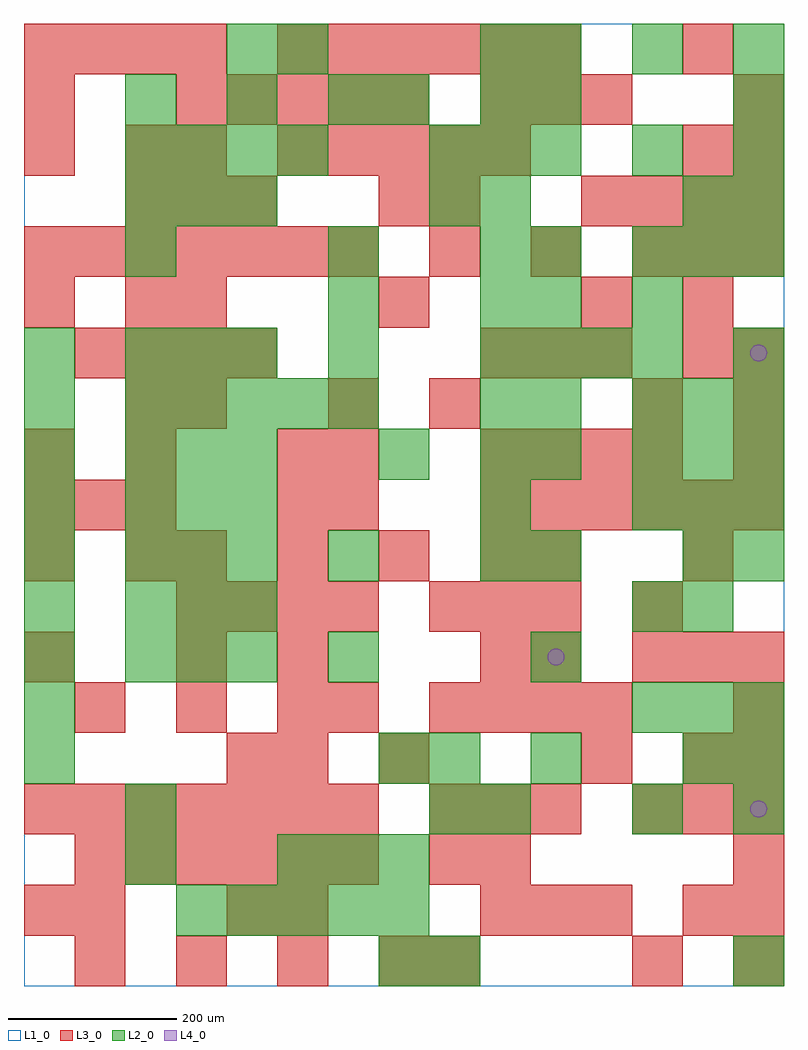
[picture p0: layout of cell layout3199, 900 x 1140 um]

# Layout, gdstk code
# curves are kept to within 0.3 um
import gdstk
lib = gdstk.Library(unit=1e-6, precision=1e-09)
def R(c, l, rs):  # rectangles x0, y0, x1, y1
    for r in rs: c.add(gdstk.rectangle(r[:2], r[2:], *l))
def A(c, l, x, y, w, h, nx, ny, dx, dy):  # array of equal rectangles
    R(c, l, [(x+i*dx, y+j*dy, x+i*dx+w, y+j*dy+h) for i in range(nx) for j in range(ny)])
def P(c, l, *ps):  # polygons
    for p in ps: c.add(gdstk.Polygon(p, *l))
L1_0 = (1, 0)
L2_0 = (2, 0)
L3_0 = (3, 0)
L4_0 = (4, 0)

layout3199 = lib.new_cell('layout3199')
R(layout3199, L1_0, [(0,0,900,1140)])
A(layout3199, L2_0, 180, 60, 60, 60, 5, 1, 60, 0)
A(layout3199, L2_0, 300, 120, 60, 60, 3, 1, 60, 0)
A(layout3199, L2_0, 0, 240, 60, 60, 1, 9, 0, 60)
A(layout3199, L2_0, 600, 240, 60, 60, 1, 4, 0, 120)
A(layout3199, L2_0, 840, 240, 60, 60, 1, 3, 0, 240)
A(layout3199, L2_0, 720, 300, 60, 60, 3, 2, 60, 240)
A(layout3199, L2_0, 120, 360, 60, 60, 3, 5, 60, 60)
A(layout3199, L2_0, 540, 480, 60, 60, 1, 4, 0, 60)
A(layout3199, L2_0, 720, 600, 60, 60, 3, 2, 60, 60)
A(layout3199, L2_0, 120, 660, 60, 60, 5, 1, 60, 0)
A(layout3199, L2_0, 120, 720, 60, 60, 3, 2, 60, 180)
A(layout3199, L2_0, 360, 720, 60, 60, 1, 3, 0, 60)
A(layout3199, L2_0, 540, 720, 60, 60, 4, 1, 60, 0)
A(layout3199, L2_0, 540, 780, 60, 60, 1, 3, 0, 60)
A(layout3199, L2_0, 720, 840, 60, 60, 3, 1, 60, 0)
A(layout3199, L2_0, 840, 900, 60, 60, 1, 3, 0, 60)
A(layout3199, L2_0, 120, 960, 60, 60, 4, 1, 60, 0)
A(layout3199, L2_0, 480, 960, 60, 60, 3, 1, 60, 0)
A(layout3199, L2_0, 120, 1020, 60, 60, 3, 1, 120, 0)
A(layout3199, L2_0, 600, 1080, 60, 60, 3, 1, 120, 0)
R(layout3199, L2_0, [(420,0,480,60), (480,0,540,60), (840,0,900,60), (120,120,180,180), (120,180,180,240), (480,180,540,240), (540,180,600,240), (720,180,780,240), (840,180,900,240), (420,240,480,300), (480,240,540,300), (780,240,840,300), (360,360,420,420), (720,420,780,480), (780,420,840,480), (360,480,420,540), (780,480,840,540), (420,600,480,660), (600,660,660,720), (600,780,660,840), (720,780,780,840), (120,840,180,900), (600,840,660,900), (480,900,540,960), (780,900,840,960), (720,960,780,1020), (420,1020,480,1080), (540,1020,600,1080), (600,1020,660,1080), (240,1080,300,1140), (300,1080,360,1140), (540,1080,600,1140)])
A(layout3199, L3_0, 60, 0, 60, 60, 4, 1, 120, 0)
A(layout3199, L3_0, 840, 0, 60, 60, 1, 3, 0, 60)
A(layout3199, L3_0, 540, 60, 60, 60, 3, 2, 60, 660)
A(layout3199, L3_0, 60, 120, 60, 60, 6, 1, 60, 0)
A(layout3199, L3_0, 0, 180, 60, 60, 7, 2, 60, 660)
A(layout3199, L3_0, 480, 180, 60, 60, 3, 2, 60, 240)
A(layout3199, L3_0, 720, 180, 60, 60, 3, 2, 60, 180)
A(layout3199, L3_0, 780, 240, 60, 60, 1, 3, 0, 240)
A(layout3199, L3_0, 60, 300, 60, 60, 3, 1, 120, 0)
A(layout3199, L3_0, 480, 300, 60, 60, 4, 1, 60, 0)
A(layout3199, L3_0, 0, 360, 60, 60, 1, 3, 0, 120)
A(layout3199, L3_0, 180, 360, 60, 60, 1, 3, 0, 300)
A(layout3199, L3_0, 180, 420, 60, 60, 4, 1, 60, 0)
A(layout3199, L3_0, 180, 480, 60, 60, 4, 1, 120, 0)
A(layout3199, L3_0, 0, 540, 60, 60, 3, 1, 60, 0)
A(layout3199, L3_0, 360, 540, 60, 60, 1, 3, 0, 60)
A(layout3199, L3_0, 540, 540, 60, 60, 6, 1, 60, 0)
A(layout3199, L3_0, 540, 600, 60, 60, 4, 1, 60, 0)
A(layout3199, L3_0, 840, 600, 60, 60, 1, 3, 0, 60)
A(layout3199, L3_0, 60, 720, 60, 60, 4, 1, 60, 0)
A(layout3199, L3_0, 180, 780, 60, 60, 3, 1, 240, 0)
A(layout3199, L3_0, 480, 840, 60, 60, 3, 1, 120, 0)
A(layout3199, L3_0, 780, 840, 60, 60, 1, 3, 0, 120)
A(layout3199, L3_0, 120, 900, 60, 60, 3, 1, 60, 0)
A(layout3199, L3_0, 660, 900, 60, 60, 4, 1, 60, 0)
A(layout3199, L3_0, 300, 960, 60, 60, 5, 1, 60, 0)
A(layout3199, L3_0, 180, 1020, 60, 60, 5, 1, 60, 0)
A(layout3199, L3_0, 540, 1020, 60, 60, 3, 1, 60, 0)
A(layout3199, L3_0, 0, 1080, 60, 60, 4, 1, 60, 0)
A(layout3199, L3_0, 300, 1080, 60, 60, 6, 1, 60, 0)
R(layout3199, L3_0, [(480,0,540,60), (720,0,780,60), (0,60,60,120), (60,60,120,120), (240,60,300,120), (300,60,360,120), (780,60,840,120), (480,120,540,180), (540,120,600,180), (240,240,300,300), (300,240,360,300), (420,240,480,300), (660,240,720,300), (840,240,900,300), (360,300,420,360), (840,300,900,360), (300,360,360,420), (540,360,600,420), (600,360,660,420), (720,420,780,480), (120,480,180,540), (600,480,660,540), (300,540,360,600), (120,600,180,660), (300,600,360,660), (120,660,180,720), (480,660,540,720), (720,660,780,720), (0,780,60,840), (120,780,180,840), (780,780,840,840), (840,840,900,900), (420,900,480,960), (480,900,540,960), (0,960,60,1020), (120,960,180,1020), (840,960,900,1020), (0,1020,60,1080), (840,1020,900,1080)])
P(layout3199, L4_0, [(640,390),(639.239,393.827),(637.071,397.071),(633.827,399.239),(630,400),(626.173,399.239),(622.929,397.071),(620.761,393.827),(620,390),(620.761,386.173),(622.929,382.929),(626.173,380.761),(630,380),(633.827,380.761),(637.071,382.929),(639.239,386.173)],
  [(880,210),(879.239,213.827),(877.071,217.071),(873.827,219.239),(870,220),(866.173,219.239),(862.929,217.071),(860.761,213.827),(860,210),(860.761,206.173),(862.929,202.929),(866.173,200.761),(870,200),(873.827,200.761),(877.071,202.929),(879.239,206.173)],
  [(880,750),(879.239,753.827),(877.071,757.071),(873.827,759.239),(870,760),(866.173,759.239),(862.929,757.071),(860.761,753.827),(860,750),(860.761,746.173),(862.929,742.929),(866.173,740.761),(870,740),(873.827,740.761),(877.071,742.929),(879.239,746.173)])

lib.write_gds('layout3199.gds')
